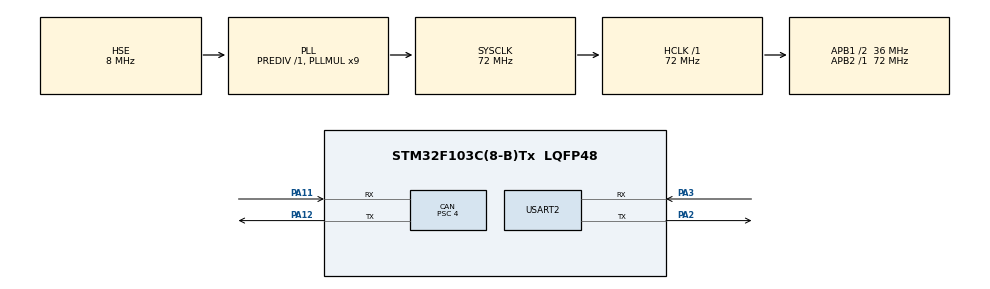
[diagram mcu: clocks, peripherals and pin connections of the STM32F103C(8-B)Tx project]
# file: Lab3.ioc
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CAN.BS1=CAN_BS1_15TQ
CAN.BS2=CAN_BS2_2TQ
CAN.CalculateBaudRate=500000
CAN.CalculateTimeBit=2000
CAN.CalculateTimeQuantum=111.11111111111111
CAN.Mode=CAN_MODE_LOOPBACK
CAN.Prescaler=4
CAN.SJW=CAN_SJW_2TQ
Mcu.Family=STM32F1
Mcu.Name=STM32F103C(8-B)Tx
Mcu.Package=LQFP48
NVIC.PriorityGroup=NVIC_PRIORITYGROUP_4
PA11.Mode=CAN_Activate
PA11.Signal=CAN_RX
PA12.Mode=CAN_Activate
PA12.Signal=CAN_TX
PA13.Mode=Serial_Wire
PA13.Signal=SYS_JTMS-SWDIO
PA14.Mode=Serial_Wire
PA14.Signal=SYS_JTCK-SWCLK
PA2.Mode=Asynchronous
PA2.Signal=USART2_TX
PA3.Mode=Asynchronous
PA3.Signal=USART2_RX
PD0-OSC_IN.Mode=HSE-External-Oscillator
PD0-OSC_IN.Signal=RCC_OSC_IN
PD1-OSC_OUT.Mode=HSE-External-Oscillator
PD1-OSC_OUT.Signal=RCC_OSC_OUT
ProjectManager.HeapSize=0x200
ProjectManager.StackSize=0x400
ProjectManager.TargetToolchain=STM32CubeIDE
RCC.AHBFreq_Value=72000000
RCC.APB1CLKDivider=RCC_HCLK_DIV2
RCC.APB1Freq_Value=36000000
RCC.APB1TimFreq_Value=72000000
RCC.APB2Freq_Value=72000000
RCC.APB2TimFreq_Value=72000000
RCC.HCLKFreq_Value=72000000
RCC.PLLMUL=RCC_PLL_MUL9
RCC.PLLSourceVirtual=RCC_PLLSOURCE_HSE
RCC.SYSCLKFreq_VALUE=72000000
RCC.SYSCLKSource=RCC_SYSCLKSOURCE_PLLCLK
RCC.USBFreq_Value=72000000
USART2.VirtualMode=VM_ASYNC
board=custom

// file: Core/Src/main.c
/* USER CODE BEGIN Header */
/**
  ******************************************************************************
  * @file           : main.c
  * @brief          : Main program body
  ******************************************************************************
  * @attention
  *
  * Copyright (c) 2023 STMicroelectronics.
  * All rights reserved.
  *
  * This software is licensed under terms that can be found in the LICENSE file
  * in the root directory of this software component.
  * If no LICENSE file comes with this software, it is provided AS-IS.
  *
  ******************************************************************************
  */
/* USER CODE END Header */
#include "main.h"
#include "can.h"
#include "usart.h"
#include "gpio.h"

/* USER CODE BEGIN Includes */
#include "isotp.h"
#include "TESTER.h"
#include "ECU.h"
/* USER CODE END Includes */

void SystemClock_Config(void);

int main(void)
{

  /* MCU Configuration--------------------------------------------------------*/

  /* Reset of all peripherals, Initializes the Flash interface and the Systick. */
  HAL_Init();

  /* Configure the system clock */
  SystemClock_Config();

  /* Initialize all configured peripherals */
  MX_GPIO_Init();
  MX_CAN_Init();
  MX_USART2_UART_Init();
  /* USER CODE BEGIN 2 */
  CAN_Config_filtering();
  HAL_CAN_Start(&hcan);
//
//  TesterRequesttypedef Tester;
//  ECU_PosResponse PosECU;
//  ECU_NegResponse NegECU;
//
//  Tester_RequestInit(&Tester);
//  ECU_PosResponseInit(&PosECU);
//  ECU_NegResponseInit(&NegECU);
//
//  TesterWriteDataRequesttypedef WTester;
//  WriteDataID_Negative NECU;
//  WriteDataID_Positive PECU;
//  Tester_WriteDataIDInit(&WTester);
//  ECU_NegWriteResponseInit(&NECU);
//  ECU_PosWriteResponseInit(&PECU);
  /* USER CODE END 2 */

  /* Infinite loop */
  /* USER CODE BEGIN WHILE */
  uint8_t RequestData[3]={0};
  RequestData[0]= Tester.ReadDataID;
  RequestData[1]= Tester.ReadDataIDHigh;
  RequestData[2]= Tester.ReadDataLow;

  uint8_t PosResponse[5]={0};
  uint8_t NegResponse[3]={0};

  uint8_t HandleFlag=0;

  uint8_t WrtieDataRequest[3]={0};
  WrtieDataRequest[0]=WTester.WriteData_RequestSID;
  WrtieDataRequest[1]=WTester.Record_Highbyte;
  WrtieDataRequest[2]=WTester.Record_Lowbyte;

  uint8_t Positive_WriteResponse[1];
  uint8_t Negative_WriteResponse[3];

//SEND
  RequestSeedTypedef ReSeed;
  Tester_SendRquestSeedInit(&ReSeed);
  uint8_t RequestSeed[2]={0};
  RequestSeed[0]=ReSeed.Security_SID;
  RequestSeed[1]=ReSeed.Security_Level;
  Seedtypedef SendSeed;
  Keytypedef SendKey;
//REC
  ResponseSEEDtypedef Seed;
  ResponseSeedInit(&Seed);
  Seed.Seed_0 =getRandomNumber(0,4294967295);
  Seed.Seed_1 =getRandomNumber(0,4294967295);
  Seed.Seed_2 =getRandomNumber(0,4294967295);
  Seed.Seed_3 =getRandomNumber(0,4294967295);
  uint8_t ECU_ResponseSeed[6]={0};
  ECU_ResponseSeed[0]=Seed.ResponseID;
  ECU_ResponseSeed[1]=Seed.SecurityLevel;
  ECU_ResponseSeed[2]=Seed.Seed_0;
  ECU_ResponseSeed[3]=Seed.Seed_1;
  ECU_ResponseSeed[4]=Seed.Seed_2;
  ECU_ResponseSeed[5]=Seed.Seed_3;
//
  uint8_t rcData[8]={0};
  uint8_t size=0;
  uint32_t ID=0;
  uint8_t ret;
  char msg[50];

  static IsoTpLink g_link;
  static uint8_t g_isotpRecvBuf[50];
  static uint8_t g_isotpSendBuf[50];
  uint8_t SESendKey[18]={0};
  isotp_init_link(&g_link, REQUESTID ,g_isotpSendBuf, sizeof(g_isotpSendBuf), g_isotpRecvBuf, sizeof(g_isotpRecvBuf));
//
  uint8_t FIRequest=0;
  uint16_t sizebuf=18;
  uint8_t RquestOK=0;
  uint8_t ReponseOK=0;
  uint8_t SendKeyOK=0;
  //
  NegativeResponsetypedef NegReponse;
  NegativeResponseInit(&NegReponse);
  uint8_t NegReponseSE[3]={0};
  NegReponseSE[0]=NegReponse.NegativeResponse;
  NegReponseSE[1]=NegReponse.NegativeResponse;
  uint32_t id;
  uint8_t rcdata[8];
  while (1)
  {
    /* USER CODE END WHILE */

    /* USER CODE BEGIN 3 */
	  /* If receive any interested can message, call isotp_on_can_message to handle message */

////
	  	  	    KeyandSeedCompute(&SendKey, &SendSeed);
	  			SESendKey[0]=SEREQUESTID;
	  			SESendKey[1] = SESEEDLEVEL;
	  			SESendKey[2] = SendKey.Key_0;
	  			SESendKey[3] = SendKey.Key_1;
	  			SESendKey[4] = SendKey.Key_2;
	  			SESendKey[5] = SendKey.Key_3;
	  			SESendKey[6] = SendKey.Key_4;
	  			SESendKey[7] = SendKey.Key_5;
	  			SESendKey[8] = SendKey.Key_6;
	  			SESendKey[9] = SendKey.Key_7;
	  			SESendKey[10] = SendKey.Key_8;
	  			SESendKey[11] = SendKey.Key_9;
	  			SESendKey[12] = SendKey.Key_10;
	  			SESendKey[13] = SendKey.Key_11;
	  			SESendKey[14] = SendKey.Key_12;
	  			SESendKey[15] = SendKey.Key_13;
	  			SESendKey[16] = SendKey.Key_14;
	  			SESendKey[17] = SendKey.Key_15;
	  			ret=isotp_send(&g_link, SESendKey, sizeof(SESendKey));
		  	isotp_poll(&g_link);
	  		ret = CAN_RecData(&ID, rcData, &size);
	  		if (HAL_OK == ret && REQUESTID == ID) {
	  			isotp_on_can_message(&g_link, rcData, size);
	  		}
	  		ret = isotp_receive(&g_link, g_isotpRecvBuf, sizeof(g_isotpRecvBuf),
	  				&sizebuf);
	  		if (ISOTP_RET_OK == ret) {
	  			uint32_t len = sprintf(msg," ECU OK \r\n");
	  			HAL_UART_Transmit(&huart2,(uint8_t*) msg, len, HAL_MAX_DELAY);
	  			if(g_isotpRecvBuf[0]==SEREQUESTID){
	  				ReponseOK=1;
	  			}
	  		}
	  				if(ReponseOK==1)
	  				{
	  					isotp_send(&g_link, ECU_ResponseSeed, sizeof(ECU_ResponseSeed));
	  				}
	  		KeyandSeedCompute(&SendKey, &SendSeed);
	  		if(g_link.receive_size==18){
	  		 if (g_isotpRecvBuf[0] != SendKey.Key_0 || g_isotpRecvBuf[1] != SendKey.Key_1 || g_isotpRecvBuf[2] != SendKey.Key_2 ||
	  		        g_isotpRecvBuf[3] != SendKey.Key_3 || g_isotpRecvBuf[4] != SendKey.Key_4 || g_isotpRecvBuf[5] != SendKey.Key_5 ||
	  		        g_isotpRecvBuf[6] != SendKey.Key_6 || g_isotpRecvBuf[7] != SendKey.Key_7 || g_isotpRecvBuf[8] != SendKey.Key_8 ||
	  		        g_isotpRecvBuf[9] != SendKey.Key_9 || g_isotpRecvBuf[10] != SendKey.Key_10 || g_isotpRecvBuf[11] != SendKey.Key_11 ||
	  		        g_isotpRecvBuf[12] != SendKey.Key_12 || g_isotpRecvBuf[13] != SendKey.Key_13 || g_isotpRecvBuf[14] != SendKey.Key_14 ||
	  		        g_isotpRecvBuf[15] != SendKey.Key_15) {
	  			 	 NegReponseSE[3]=INVALIDKEY;
	  			 	 isotp_send(&g_link, NegReponseSE, sizeof(NegReponseSE));

	  		 }
	  		 else
	  		 {
	  			uint32_t len = sprintf(msg," ECU KEY OK \r\n");
	  			HAL_UART_Transmit(&huart2,(uint8_t*) msg, len, HAL_MAX_DELAY);
	  		 }
	  		}
	  if(FIRequest==0)
		ret = isotp_send(&g_link, RequestSeed, sizeof(RequestSeed));
		FIRequest=1;
	  }
		ret = CAN_RecData(&ID, rcData, &size);
		if (HAL_OK == ret && RESPONSE == ID) {
			isotp_on_can_message(&g_link, rcData, size);
		}
//		HAL_Delay(1);
//		ret = isotp_receive(&g_link, g_isotpRecvBuf, sizeof(g_isotpRecvBuf),
//				&sizebuf);
//		if (ISOTP_RET_OK == ret) {
//			if(g_isotpRecvBuf[0]==SERESPONSEID){
//				ReponseOK=1;
//				SendSeed.Seed_0=g_isotpRecvBuf[2];
//				SendSeed.Seed_1=g_isotpRecvBuf[3];
//				SendSeed.Seed_2=g_isotpRecvBuf[4];
//				SendSeed.Seed_3=g_isotpRecvBuf[5];
//			}
//		}
//		if(ReponseOK==1)
//		{
//			KeyandSeedCompute(&SendKey, &SendSeed);
//			SESendKey[0]=SEREQUESTID;
//			SESendKey[1] = SESEEDLEVEL;
//			SESendKey[2] = SendKey.Key_0;
//			SESendKey[3] = SendKey.Key_1;
//			SESendKey[4] = SendKey.Key_2;
//			SESendKey[5] = SendKey.Key_3;
//			SESendKey[6] = SendKey.Key_4;
//			SESendKey[7] = SendKey.Key_5;
//			SESendKey[8] = SendKey.Key_6;
//			SESendKey[9] = SendKey.Key_7;
//			SESendKey[10] = SendKey.Key_8;
//			SESendKey[11] = SendKey.Key_9;
//			SESendKey[12] = SendKey.Key_10;
//			SESendKey[13] = SendKey.Key_11;
//			SESendKey[14] = SendKey.Key_12;
//			SESendKey[15] = SendKey.Key_13;
//			SESendKey[16] = SendKey.Key_14;
//			SESendKey[17] = SendKey.Key_15;
//			ret=isotp_send(&g_link, SESendKey, sizeof(SESendKey));
//			while(g_link.send_status == ISOTP_SEND_STATUS_INPROGRESS){
//			isotp_poll(&g_link);
//			}
//			if(ISOTP_RET_OK == ret){
//				uint32_t len = sprintf(msg," Tester SercurityOK \r\n");
//				HAL_UART_Transmit(&huart2,(uint8_t*) msg, len, HAL_MAX_DELAY);
//			}
//		}
//	  ret = CAN_RecData(&ID, rcData, &size);
//	 	  	  if (HAL_OK == ret && ReSponseID == ID) {
//	 	  	                 isotp_on_can_message(&g_link, rcData, size);
//	 	  	      }
//	 	  	  ret = isotp_receive(&g_link, g_isotpRecvBuf, sizeof(g_isotpRecvBuf),&sizebuf);
//	 	  	             if (ISOTP_RET_OK == ret) {
//	 	  	            	 if(g_isotpRecvBuf[0]==SERESPONSEID)
//	 	  	            	 {
//	 	  	            		 KeyandSeedCompute(&SendKey, &SendSeed);
//	 	  	            		SESendKey[0]=SEREQUESTID;
//	 	  	            		SESendKey[1]=SESEEDLEVEL;
//	 	  	            		SESendKey[2]=SendKey.Key_0;
//	 	  	            		SESendKey[3]=SendKey.Key_1;
//	 	  	            		SESendKey[4]=SendKey.Key_2;
//	 	  	            		SESendKey[5]=SendKey.Key_3;
//	 	  	            		SESendKey[6]=SendKey.Key_4;
//	 	  	            		SESendKey[7]=SendKey.Key_5;
//	 	  	            		SESendKey[8]=SendKey.Key_6;
//	 	  	            		SESendKey[9]=SendKey.Key_7;
//	 	  	            		SESendKey[10]=SendKey.Key_8;
//	 	  	            		SESendKey[11]=SendKey.Key_9;
//	 	  	            		SESendKey[12]=SendKey.Key_10;
//	 	  	            		SESendKey[13]=SendKey.Key_11;
//	 	  	            		SESendKey[14]=SendKey.Key_12;
//	 	  	            		SESendKey[15]=SendKey.Key_13;
//	 	  	            		SESendKey[16]=SendKey.Key_14;
//	 	  	            		SESendKey[17]=SendKey.Key_15;
//	 	  	            		 isotp_send(&g_link, SESendKey, sizeof(SESendKey));
//	 	  	            	 }
//	 	  	             }
//	 	  	          isotp_poll(&g_link);
	 	  	                 /* Handle received message */
	   //	ret = isotp_send(&g_link, WrtieDataRequest, sizeof(WrtieDataRequest));
//	HAL_Delay(1000);
	  	  ret = CAN_RecData(&ID, rcData, &size);
	  	  if (HAL_OK == ret && REQUESTID == ID) {
	  	                 isotp_on_can_message(&g_link, rcData, size);
	  	      }
	  	  ret = isotp_receive(&g_link, g_isotpRecvBuf, sizeof(g_isotpRecvBuf),&sizebuf);
	  	             if (ISOTP_RET_OK == ret) {
	  	                 /* Handle received message */
	  	            	 if(g_isotpRecvBuf[0]!=WRITEDATAID)
	  	            	 {
	  //	            		 uint32_t len = sprintf(msg,"ECU Receive Data: %x %x %x, ID TESTER : %ld\r\n",g_isotpRecvBuf[0],g_isotpRecvBuf[1],g_isotpRecvBuf[2],g_link.receive_arbitration_id);
	  	            		 uint32_t len = sprintf(msg," : ECU RequestPositive \r\n");
	  	            		 HAL_UART_Transmit(&huart2,(uint8_t*) msg, len, HAL_MAX_DELAY);
	  	            		 Positive_WriteResponse[0]=PECU.WriteDataSID;
	  	            		 HandleFlag = POSITIVE;
	  	            	 }
	  	            	 else
	  	            	 {
	  	            		 uint32_t len = sprintf(msg," : ECU NegPositive \r\n");
	  	            		 HAL_UART_Transmit(&huart2,(uint8_t*) msg, len, HAL_MAX_DELAY);
	  	            		Negative_WriteResponse[0]=NECU.Write_NegResponse;
	  	            		Negative_WriteResponse[1]=NECU.Write_NegResponseSID;
	  	            		if(g_link.receive_buf_size >4 ){
	  	            			Negative_WriteResponse[2]=NECU.NegativeInvalidLength;
	  	            		}else {
	  	            			Negative_WriteResponse[2]=NECU.NegativeDID;
	  	            		}
	  	            		 HandleFlag = NEGATIVE;
	  	            	 }
	  	             }
	  	             HAL_Delay(1);
	  	        if(HandleFlag==POSITIVE){
	  	        	ret = isotp_send_with_id(&g_link, 0x7A2, Positive_WriteResponse, sizeof(Positive_WriteResponse));
	  	        	if (ISOTP_RET_OK != ret) {
	  	        		uint32_t len = sprintf(msg," : ECU TransmitFail \r\n");
	  	        		HAL_UART_Transmit(&huart2,(uint8_t*) msg, len, HAL_MAX_DELAY);
	  	        	}
	  	       }else {
	  	    	   ret = isotp_send_with_id(&g_link, 0x7A2, Negative_WriteResponse, sizeof(Negative_WriteResponse));
	         		if (ISOTP_RET_OK != ret) {
	         		uint32_t len = sprintf(msg," : ECU TransmitFail \r\n");
	         		HAL_UART_Transmit(&huart2,(uint8_t*) msg, len, HAL_MAX_DELAY);
	         	}
	  	   }
//	  ret = isotp_send(&g_link, RequestData, sizeof(RequestData));
//	  HAL_Delay(1000);

//	  ret = CAN_RecData(&ID, rcData, &size);
//	  if (HAL_OK == ret && REQUESTID == ID) {
//	                 isotp_on_can_message(&g_link, rcData, size);
//	      }
//	  ret = isotp_receive(&g_link, g_isotpRecvBuf, sizeof(g_isotpRecvBuf),&sizebuf);
//	             if (ISOTP_RET_OK == ret) {
//	                 /* Handle received message */
//	            	 if(g_isotpRecvBuf[0]!=DATAREQUESTSID)
//	            	 {
////	            		 uint32_t len = sprintf(msg,"ECU Receive Data: %x %x %x, ID TESTER : %ld\r\n",g_isotpRecvBuf[0],g_isotpRecvBuf[1],g_isotpRecvBuf[2],g_link.receive_arbitration_id);
//	            		 uint32_t len = sprintf(msg," : ECU RequestPositive \r\n");
//	            		 HAL_UART_Transmit(&huart2,(uint8_t*) msg, len, HAL_MAX_DELAY);
//	            		 PosResponse[0]=POSITIVE;
//	            		 PosResponse[1]=g_isotpRecvBuf[1];
//	            		 PosResponse[2]=g_isotpRecvBuf[2];
//	            		 PosResponse[3]=REQUESTDATAHIGH;
//	            		 PosResponse[4]=REQUESTDATALOW;
//	            		 HandleFlag = POSITIVE;
//	            	 }
//	            	 else
//	            	 {
//	            		 uint32_t len = sprintf(msg," : ECU NegPositive \r\n");
//	            		 HAL_UART_Transmit(&huart2,(uint8_t*) msg, len, HAL_MAX_DELAY);
//	            		 NegResponse[0]=NEGATIVE;
//	            		 NegResponse[1]=RESPONSESID;
//	            		 NegResponse[2]=RESPONSEFORMAT;
//	            		 HandleFlag = NEGATIVE;
//	            	 }
//	             }
//	             HAL_Delay(1);
//	        if(HandleFlag==POSITIVE){
//	        	ret = isotp_send_with_id(&g_link, 0x7A2, NegResponse, sizeof(NegResponse));
//	        	if (ISOTP_RET_OK != ret) {
//	        		uint32_t len = sprintf(msg," : ECU TransmitFail \r\n");
//	        		HAL_UART_Transmit(&huart2,(uint8_t*) msg, len, HAL_MAX_DELAY);
//	        	}
//	       }else {
//	    	   ret = isotp_send_with_id(&g_link, 0x7A2, NegResponse, sizeof(NegResponse));
//       		if (ISOTP_RET_OK != ret) {
//       		uint32_t len = sprintf(msg," : ECU TransmitFail \r\n");
//       		HAL_UART_Transmit(&huart2,(uint8_t*) msg, len, HAL_MAX_DELAY);
//       	}
//	   }
//	   sprintf(msg,"ID: %d, Data: %d %d %d %d, Size: %d \r\n",ID,rcData[0],rcData[1],rcData[2],rcData[3],size);
//	 		  HAL_UART_Transmit(&huart1,(uint8_t*) msg, sizeof(msg), HAL_MAX_DELAY);
  }
  /* USER CODE END 3 */
}

void SystemClock_Config(void)
{
  RCC_OscInitTypeDef RCC_OscInitStruct = {0};
  RCC_ClkInitTypeDef RCC_ClkInitStruct = {0};

  /** Initializes the RCC Oscillators according to the specified parameters
  * in the RCC_OscInitTypeDef structure.
  */
  RCC_OscInitStruct.OscillatorType = RCC_OSCILLATORTYPE_HSE;
  RCC_OscInitStruct.HSEState = RCC_HSE_ON;
  RCC_OscInitStruct.HSEPredivValue = RCC_HSE_PREDIV_DIV1;
  RCC_OscInitStruct.HSIState = RCC_HSI_ON;
  RCC_OscInitStruct.PLL.PLLState = RCC_PLL_ON;
  RCC_OscInitStruct.PLL.PLLSource = RCC_PLLSOURCE_HSE;
  RCC_OscInitStruct.PLL.PLLMUL = RCC_PLL_MUL9;
  if (HAL_RCC_OscConfig(&RCC_OscInitStruct) != HAL_OK)
  {
    Error_Handler();
  }

  /** Initializes the CPU, AHB and APB buses clocks
  */
  RCC_ClkInitStruct.ClockType = RCC_CLOCKTYPE_HCLK|RCC_CLOCKTYPE_SYSCLK
                              |RCC_CLOCKTYPE_PCLK1|RCC_CLOCKTYPE_PCLK2;
  RCC_ClkInitStruct.SYSCLKSource = RCC_SYSCLKSOURCE_PLLCLK;
  RCC_ClkInitStruct.AHBCLKDivider = RCC_SYSCLK_DIV1;
  RCC_ClkInitStruct.APB1CLKDivider = RCC_HCLK_DIV2;
  RCC_ClkInitStruct.APB2CLKDivider = RCC_HCLK_DIV1;

  if (HAL_RCC_ClockConfig(&RCC_ClkInitStruct, FLASH_LATENCY_2) != HAL_OK)
  {
    Error_Handler();
  }
}

void Error_Handler(void)
{
  __disable_irq();
  while (1)
  {
  }
}
